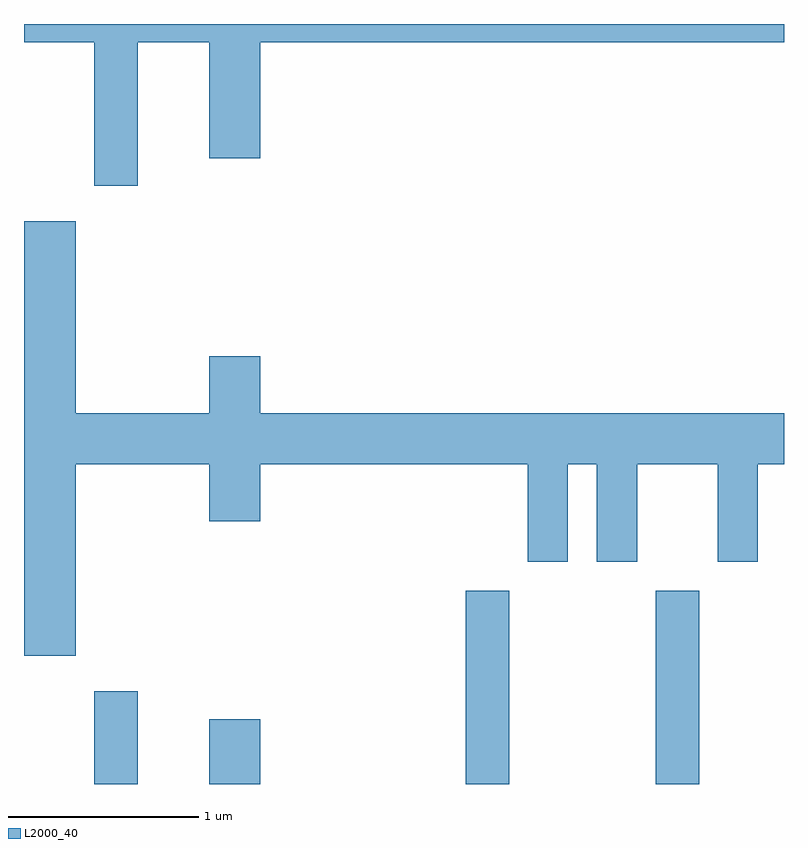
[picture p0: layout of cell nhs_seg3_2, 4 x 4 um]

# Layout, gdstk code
import gdstk
lib = gdstk.Library(unit=1e-6, precision=1e-09)
def R(c, l, rs):  # rectangles x0, y0, x1, y1
    for r in rs: c.add(gdstk.rectangle(r[:2], r[2:], *l))
def P(c, l, *ps):  # polygons
    for p in ps: c.add(gdstk.Polygon(p, *l))
L2000_40 = (2000, 40)

nhs_seg3_2 = lib.new_cell('nhs_seg3_2')
R(nhs_seg3_2, L2000_40, [(185.981,1119.892,186.209,1120.379), (186.586,1119.892,186.854,1120.234), (187.936,1119.892,188.164,1120.909), (188.936,1119.892,189.164,1120.909)])
P(nhs_seg3_2, L2000_40, [(186.209,1123.796),(186.586,1123.796),(186.586,1123.186),(186.854,1123.186),(186.854,1123.796),(189.611,1123.796),(189.611,1123.892),(185.611,1123.892),(185.611,1123.796),(185.981,1123.796),(185.981,1123.041),(186.209,1123.041)],
  [(185.884,1121.576),(186.586,1121.576),(186.586,1121.276),(186.854,1121.276),(186.854,1121.576),(188.261,1121.576),(188.261,1121.061),(188.474,1121.061),(188.474,1121.576),(188.626,1121.576),(188.626,1121.061),(188.839,1121.061),(188.839,1121.576),(189.261,1121.576),(189.261,1121.061),(189.474,1121.061),(189.474,1121.576),(189.611,1121.576),(189.611,1121.844),(186.854,1121.844),(186.854,1122.144),(186.586,1122.144),(186.586,1121.844),(185.884,1121.844),(185.884,1122.854),(185.611,1122.854),(185.611,1120.566),(185.884,1120.566)])

lib.write_gds('nhs_seg3_2.gds')
